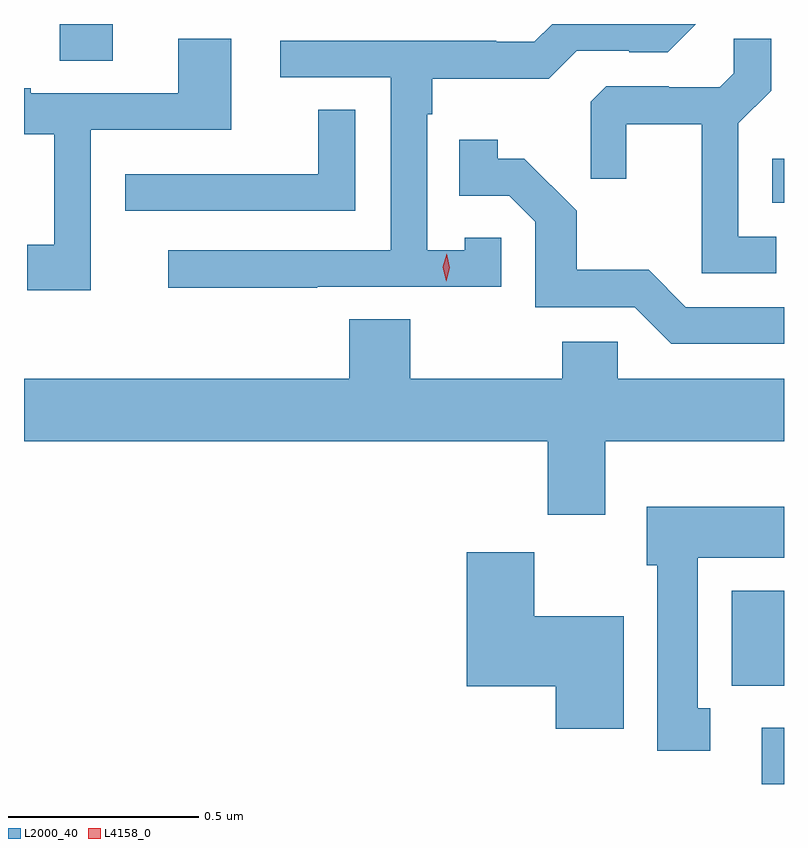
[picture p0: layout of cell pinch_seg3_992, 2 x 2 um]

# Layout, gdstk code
import gdstk
lib = gdstk.Library(unit=1e-6, precision=1e-09)
def R(c, l, rs):  # rectangles x0, y0, x1, y1
    for r in rs: c.add(gdstk.rectangle(r[:2], r[2:], *l))
def P(c, l, *ps):  # polygons
    for p in ps: c.add(gdstk.Polygon(p, *l))
L2000_40 = (2000, 40)
L4158_0 = (4158, 0)

pinch_seg3_992 = lib.new_cell('pinch_seg3_992')
R(pinch_seg3_992, L2000_40, [(455.153,714.666,455.211,714.814), (455.073,714.924,455.211,715.174), (455.18,716.195,455.211,716.311), (453.305,716.569,453.445,716.666)])
P(pinch_seg3_992, L2000_40, [(453.983,715.974),(454.467,715.974),(454.467,716.103),(454.371,716.103),(454.371,716.071),(454.272,716.071),(454.272,716.429),(454.285,716.429),(454.285,716.522),(454.592,716.522),(454.665,716.595),(454.804,716.595),(454.804,716.592),(454.905,716.592),(454.979,716.666),(454.601,716.666),(454.554,716.619),(454.454,716.619),(454.454,716.622),(453.885,716.622),(453.885,716.526),(454.176,716.526),(454.176,716.07),(453.591,716.07),(453.591,715.972),(453.983,715.972)],
  [(453.387,716.388),(453.757,716.388),(453.757,716.627),(453.617,716.627),(453.617,716.484),(453.229,716.484),(453.229,716.497),(453.211,716.497),(453.211,716.376),(453.29,716.376),(453.29,716.085),(453.219,716.085),(453.219,715.965),(453.387,715.965)],
  [(455.191,716.106),(455.091,716.106),(455.091,716.405),(455.177,716.491),(455.177,716.627),(455.079,716.627),(455.079,716.536),(455.042,716.499),(454.908,716.499),(454.908,716.502),(454.743,716.502),(454.702,716.461),(454.702,716.259),(454.796,716.259),(454.796,716.402),(454.994,716.402),(454.994,716.01),(455.191,716.01)],
  [(454.083,716.441),(453.985,716.441),(453.985,716.271),(453.589,716.271),(453.589,716.27),(453.477,716.27),(453.477,716.175),(454.083,716.175)],
  [(455.211,715.92),(454.953,715.92),(454.855,716.019),(454.666,716.019),(454.666,716.174),(454.528,716.312),(454.458,716.312),(454.458,716.362),(454.357,716.362),(454.357,716.214),(454.488,716.214),(454.557,716.145),(454.557,715.92),(454.818,715.92),(454.914,715.824),(455.211,715.824)],
  [(454.741,715.568),(455.211,715.568),(455.211,715.732),(454.773,715.732),(454.773,715.83),(454.627,715.83),(454.627,715.732),(454.227,715.732),(454.227,715.889),(454.067,715.889),(454.067,715.732),(453.211,715.732),(453.211,715.568),(454.589,715.568),(454.589,715.374),(454.741,715.374)],
  [(455.017,714.865),(454.984,714.865),(454.984,715.262),(455.211,715.262),(455.211,715.396),(454.85,715.396),(454.85,715.242),(454.877,715.242),(454.877,714.753),(455.017,714.753)],
  [(454.789,715.108),(454.554,715.108),(454.554,715.276),(454.376,715.276),(454.376,714.923),(454.61,714.923),(454.61,714.812),(454.789,714.812)])
P(pinch_seg3_992, L4158_0, [(454.322,715.989),(454.322,715.989),(454.313,716.026),(454.323,716.061),(454.323,716.062),(454.323,716.061),(454.332,716.025),(454.322,715.989)])

lib.write_gds('pinch_seg3_992.gds')
